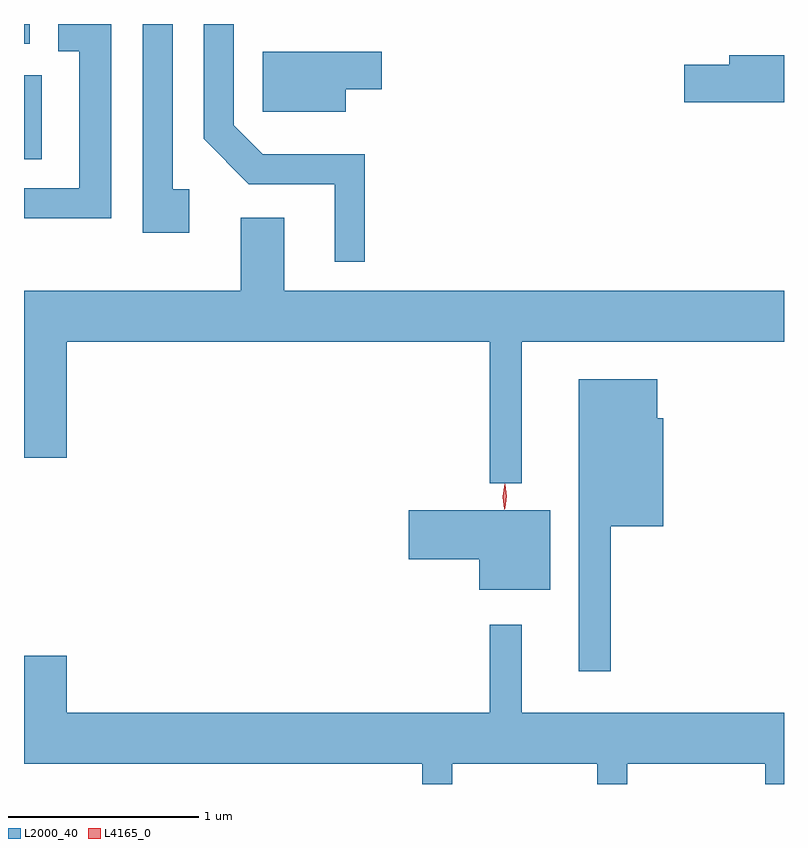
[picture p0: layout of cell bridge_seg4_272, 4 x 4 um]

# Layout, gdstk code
import gdstk
lib = gdstk.Library(unit=1e-6, precision=1e-09)
def R(c, l, rs):  # rectangles x0, y0, x1, y1
    for r in rs: c.add(gdstk.rectangle(r[:2], r[2:], *l))
def P(c, l, *ps):  # polygons
    for p in ps: c.add(gdstk.Polygon(p, *l))
L2000_40 = (2000, 40)
L4165_0 = (4165, 0)

bridge_seg4_272 = lib.new_cell('bridge_seg4_272')
R(bridge_seg4_272, L2000_40, [(534.8,1373.396,534.894,1373.839), (534.8,1374.006,534.829,1374.109)])
P(bridge_seg4_272, L2000_40, [(535.259,1374.109),(534.981,1374.109),(534.981,1373.966),(535.091,1373.966),(535.091,1373.244),(534.8,1373.244),(534.8,1373.086),(535.259,1373.086)],
  [(536.594,1373.424),(536.057,1373.424),(535.904,1373.577),(535.904,1374.109),(535.746,1374.109),(535.746,1373.504),(535.984,1373.266),(536.436,1373.266),(536.436,1372.858),(536.594,1372.858)],
  [(535.669,1373.239),(535.584,1373.239),(535.584,1374.109),(535.426,1374.109),(535.426,1373.011),(535.669,1373.011)],
  [(536.494,1373.766),(536.684,1373.766),(536.684,1373.964),(536.056,1373.964),(536.056,1373.646),(536.494,1373.646)],
  [(538.8,1373.944),(538.511,1373.944),(538.511,1373.894),(538.276,1373.894),(538.276,1373.696),(538.8,1373.696)],
  [(537.419,1372.436),(538.8,1372.436),(538.8,1372.704),(536.169,1372.704),(536.169,1373.089),(535.941,1373.089),(535.941,1372.704),(534.8,1372.704),(534.8,1371.826),(535.024,1371.826),(535.024,1372.436),(537.251,1372.436),(537.251,1371.693),(537.419,1371.693)],
  [(537.889,1371.466),(538.164,1371.466),(538.164,1372.034),(538.134,1372.034),(538.134,1372.239),(537.721,1372.239),(537.721,1370.703),(537.889,1370.703)],
  [(537.569,1371.549),(536.826,1371.549),(536.826,1371.291),(537.196,1371.291),(537.196,1371.131),(537.569,1371.131)],
  [(537.054,1370.216),(537.816,1370.216),(537.816,1370.109),(537.974,1370.109),(537.974,1370.216),(538.701,1370.216),(538.701,1370.109),(538.8,1370.109),(538.8,1370.484),(537.419,1370.484),(537.419,1370.948),(537.251,1370.948),(537.251,1370.484),(535.024,1370.484),(535.024,1370.784),(534.8,1370.784),(534.8,1370.216),(536.896,1370.216),(536.896,1370.109),(537.054,1370.109)])
P(bridge_seg4_272, L4165_0, [(537.332,1371.56),(537.332,1371.56),(537.322,1371.623),(537.332,1371.686),(537.332,1371.687),(537.333,1371.686),(537.342,1371.623),(537.333,1371.56)],
  [(537.328,1371.554),(537.328,1371.554),(537.319,1371.622),(537.329,1371.69),(537.33,1371.69),(537.33,1371.69),(537.339,1371.622),(537.329,1371.554)])

lib.write_gds('bridge_seg4_272.gds')
